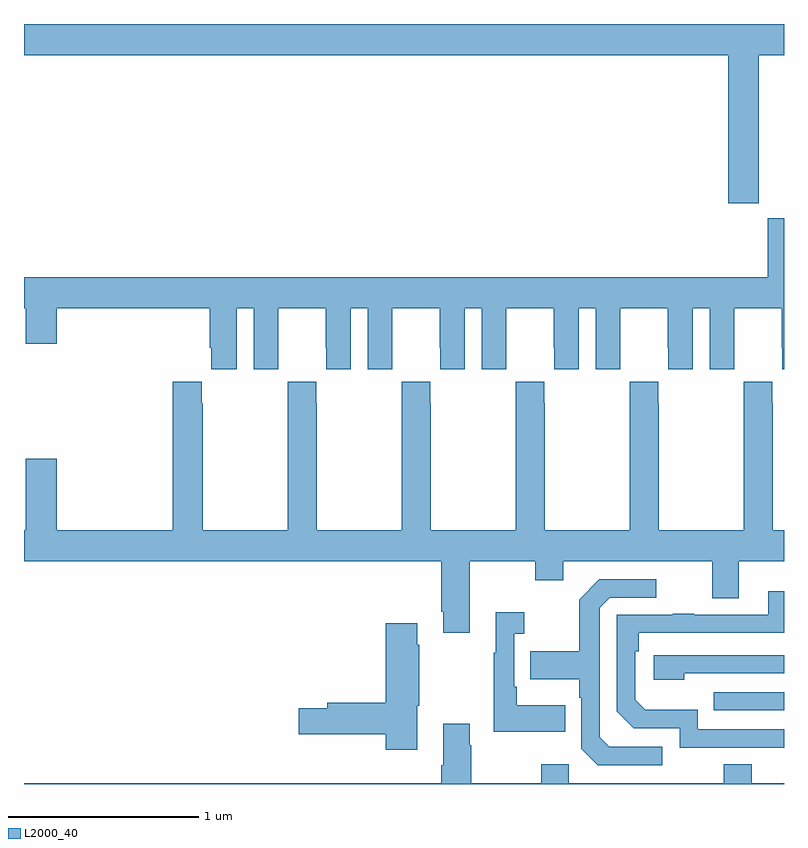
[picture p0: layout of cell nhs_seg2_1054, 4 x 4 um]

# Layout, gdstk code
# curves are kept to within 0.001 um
import gdstk
lib = gdstk.Library(unit=1e-6, precision=1e-09)
def R(c, l, rs):  # rectangles x0, y0, x1, y1
    for r in rs: c.add(gdstk.rectangle(r[:2], r[2:], *l))
def P(c, l, *ps):  # polygons
    for p in ps: c.add(gdstk.Polygon(p, *l))
L2000_40 = (2000, 40)

nhs_seg2_1054 = lib.new_cell('nhs_seg2_1054')
R(nhs_seg2_1054, L2000_40, [(168.631,644.187,169,644.283)])
P(nhs_seg2_1054, L2000_40, [(168.867,647.636),(169,647.636),(169,647.8),(165,647.8),(165,647.636),(168.707,647.636),(168.707,646.857),(168.867,646.857)],
  [(165,646.304),(165.008,646.304),(165.008,646.116),(165.172,646.116),(165.172,646.304),(165.977,646.304),(165.977,646.096),(165.986,646.096),(165.986,645.984),(166.12,645.984),(166.12,646.304),(166.208,646.304),(166.208,645.984),(166.338,645.984),(166.338,646.096),(166.339,646.096),(166.339,646.304),(166.589,646.304),(166.589,646.096),(166.59,646.096),(166.59,645.984),(166.72,645.984),(166.72,646.304),(166.808,646.304),(166.808,645.984),(166.938,645.984),(166.938,646.096),(166.939,646.096),(166.939,646.304),(167.189,646.304),(167.189,646.096),(167.19,646.096),(167.19,645.984),(167.32,645.984),(167.32,646.304),(167.408,646.304),(167.408,645.984),(167.538,645.984),(167.538,646.096),(167.539,646.096),(167.539,646.304),(167.789,646.304),(167.789,646.096),(167.79,646.096),(167.79,645.984),(167.92,645.984),(167.92,646.304),(168.008,646.304),(168.008,645.984),(168.138,645.984),(168.138,646.096),(168.139,646.096),(168.139,646.304),(168.389,646.304),(168.389,646.096),(168.39,646.096),(168.39,645.984),(168.52,645.984),(168.52,646.304),(168.608,646.304),(168.608,645.984),(168.738,645.984),(168.738,646.096),(168.739,646.096),(168.739,646.304),(168.989,646.304),(168.989,646.096),(168.99,646.096),(168.99,645.984),(169,645.984),(169,646.777),(168.914,646.777),(168.914,646.468),(165,646.468)],
  [(167.347,644.972),(167.692,644.972),(167.692,644.873),(167.839,644.873),(167.839,644.972),(168.623,644.972),(168.623,644.778),(168.763,644.778),(168.763,644.972),(169,644.972),(169,645.136),(168.942,645.136),(168.942,645.803),(168.939,645.803),(168.939,645.916),(168.789,645.916),(168.789,645.803),(168.787,645.803),(168.787,645.136),(168.342,645.136),(168.342,645.803),(168.339,645.803),(168.339,645.916),(168.189,645.916),(168.189,645.803),(168.187,645.803),(168.187,645.136),(167.742,645.136),(167.742,645.803),(167.739,645.803),(167.739,645.916),(167.589,645.916),(167.589,645.803),(167.587,645.803),(167.587,645.136),(167.142,645.136),(167.142,645.803),(167.139,645.803),(167.139,645.916),(166.989,645.916),(166.989,645.803),(166.987,645.803),(166.987,645.136),(166.542,645.136),(166.542,645.803),(166.539,645.803),(166.539,645.916),(166.389,645.916),(166.389,645.803),(166.387,645.803),(166.387,645.136),(165.942,645.136),(165.942,645.803),(165.935,645.803),(165.935,645.916),(165.782,645.916),(165.782,645.136),(165.172,645.136),(165.172,645.511),(165.008,645.511),(165.008,645.136),(165,645.136),(165,644.972),(167.195,644.972),(167.195,644.707),(167.207,644.707),(167.207,644.595),(167.347,644.595)],
  [(168.358,643.995),(168.081,643.995),(168.03,644.046),(168.03,644.727),(168.084,644.781),(168.328,644.781),(168.328,644.877),(168.027,644.877),(167.922,644.771),(167.922,644.499),(167.665,644.499),(167.665,644.351),(167.922,644.351),(167.922,644.255),(167.934,644.255),(167.934,643.986),(168.021,643.899),(168.358,643.899)],
  [(169,644.088),(168.546,644.088),(168.546,644.191),(168.269,644.191),(168.216,644.244),(168.216,644.498),(168.236,644.498),(168.236,644.595),(169,644.596),(169,644.815),(168.917,644.815),(168.917,644.691),(168.527,644.691),(168.527,644.696),(168.415,644.696),(168.415,644.691),(168.12,644.691),(168.12,644.184),(168.21,644.094),(168.45,644.094),(168.45,643.992),(169,643.992)],
  [(167.849,644.215),(167.593,644.215),(167.593,644.311),(167.58,644.311),(167.58,644.591),(167.632,644.591),(167.632,644.704),(167.483,644.704),(167.483,644.491),(167.472,644.491),(167.472,644.075),(167.849,644.075)],
  [(167.071,644.211),(167.079,644.211),(167.079,644.534),(167.071,644.534),(167.071,644.647),(166.904,644.647),(166.904,644.228),(166.595,644.228),(166.595,644.198),(166.446,644.198),(166.446,644.063),(166.904,644.063),(166.904,643.98),(167.071,643.98)],
  [(168.476,644.382),(169,644.382),(169,644.478),(168.315,644.478),(168.315,644.348),(168.476,644.348)],
  [(165,643.8),(169,643.8),(169,643.804),(168.829,643.804),(168.829,643.903),(168.682,643.903),(168.682,643.804),(167.868,643.804),(167.868,643.903),(167.722,643.903),(167.722,643.804),(167.355,643.804),(167.355,644.003),(167.347,644.003),(167.347,644.116),(167.207,644.116),(167.207,643.9),(167.195,643.9),(167.195,643.804),(165,643.804)])

lib.write_gds('nhs_seg2_1054.gds')
